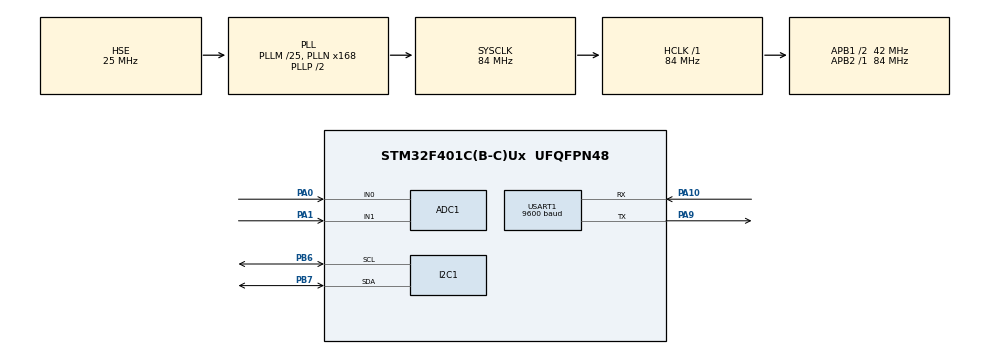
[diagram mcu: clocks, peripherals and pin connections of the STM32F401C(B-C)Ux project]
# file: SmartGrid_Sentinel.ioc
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ADC1.Channel-0\#ChannelRegularConversion=ADC_CHANNEL_0
ADC1.Channel-1\#ChannelRegularConversion=ADC_CHANNEL_1
ADC1.ContinuousConvMode=ENABLE
ADC1.DMAContinuousRequests=ENABLE
ADC1.EOCSelection=ADC_EOC_SEQ_CONV
ADC1.NbrOfConversion=2
ADC1.NbrOfConversionFlag=1
ADC1.Rank-0\#ChannelRegularConversion=1
ADC1.Rank-1\#ChannelRegularConversion=2
ADC1.SamplingTime-0\#ChannelRegularConversion=ADC_SAMPLETIME_3CYCLES
ADC1.SamplingTime-1\#ChannelRegularConversion=ADC_SAMPLETIME_3CYCLES
ADC1.master=1
Dma.ADC1.0.Direction=DMA_PERIPH_TO_MEMORY
Dma.ADC1.0.FIFOMode=DMA_FIFOMODE_DISABLE
Dma.ADC1.0.Instance=DMA2_Stream0
Dma.ADC1.0.MemDataAlignment=DMA_MDATAALIGN_HALFWORD
Dma.ADC1.0.MemInc=DMA_MINC_ENABLE
Dma.ADC1.0.Mode=DMA_CIRCULAR
Dma.ADC1.0.PeriphDataAlignment=DMA_PDATAALIGN_HALFWORD
Dma.ADC1.0.PeriphInc=DMA_PINC_DISABLE
Dma.ADC1.0.Priority=DMA_PRIORITY_LOW
Dma.Request0=ADC1
Mcu.Family=STM32F4
Mcu.Name=STM32F401C(B-C)Ux
Mcu.Package=UFQFPN48
NVIC.DMA2_Stream0_IRQn=true\:0\:0\:false\:false\:true\:false\:true\:true
NVIC.PriorityGroup=NVIC_PRIORITYGROUP_4
PA0-WKUP.Signal=ADCx_IN0
PA1.Signal=ADCx_IN1
PA10.Mode=Asynchronous
PA10.Signal=USART1_RX
PA9.Mode=Asynchronous
PA9.Signal=USART1_TX
PB6.Mode=I2C
PB6.Signal=I2C1_SCL
PB7.Mode=I2C
PB7.Signal=I2C1_SDA
PH0\ -\ OSC_IN.Mode=HSE-External-Oscillator
PH0\ -\ OSC_IN.Signal=RCC_OSC_IN
PH1\ -\ OSC_OUT.Mode=HSE-External-Oscillator
PH1\ -\ OSC_OUT.Signal=RCC_OSC_OUT
ProjectManager.HeapSize=0x200
ProjectManager.StackSize=0x400
ProjectManager.TargetToolchain=STM32CubeIDE
RCC.48MHZClocksFreq_Value=42000000
RCC.AHBFreq_Value=84000000
RCC.APB1CLKDivider=RCC_HCLK_DIV2
RCC.APB1Freq_Value=42000000
RCC.APB1TimFreq_Value=84000000
RCC.APB2Freq_Value=84000000
RCC.APB2TimFreq_Value=84000000
RCC.CortexFreq_Value=84000000
RCC.HCLKFreq_Value=84000000
RCC.HSE_VALUE=25000000
RCC.HSI_VALUE=16000000
RCC.LSE_VALUE=32768
RCC.PLLM=25
RCC.PLLN=168
RCC.PLLSourceVirtual=RCC_PLLSOURCE_HSE
RCC.SYSCLKFreq_VALUE=84000000
RCC.SYSCLKSource=RCC_SYSCLKSOURCE_PLLCLK
RCC.VCOOutputFreq_Value=168000000
SH.ADCx_IN0.0=ADC1_IN0,IN0
SH.ADCx_IN1.0=ADC1_IN1,IN1
USART1.BaudRate=9600
USART1.VirtualMode=VM_ASYNC
board=custom

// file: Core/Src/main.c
/* USER CODE BEGIN Header */
/**
  ******************************************************************************
  * @file           : main.c
  * @brief          : Main program body
  ******************************************************************************
  * @attention
  *
  * Copyright (c) 2026 STMicroelectronics.
  * All rights reserved.
  *
  * This software is licensed under terms that can be found in the LICENSE file
  * in the root directory of this software component.
  * If no LICENSE file comes with this software, it is provided AS-IS.
  *
  ******************************************************************************
  */
/* USER CODE END Header */
#include "main.h"

/* USER CODE BEGIN Includes */

#include "adc_x.h"
#include "uart.h"
#include "stdio.h"
#include "string.h"
#include <math.h>

/* USER CODE END Includes */

/* USER CODE BEGIN PD */
#define NUM_MUESTRAS 100
/* USER CODE END PD */

ADC_HandleTypeDef hadc1;
DMA_HandleTypeDef hdma_adc1;

I2C_HandleTypeDef hi2c1;

UART_HandleTypeDef huart1;

/* USER CODE BEGIN PV */
uint16_t adc_buffer[2]; // Para almacenar Voltaje [0] y Corriente [1]
float voltaje_rms = 0;
float corriente_rms = 0;
float temperatura = 0;
char mensaje_wifi[100]; // Buffer para enviar por UART
float suma_v2 = 0;
float suma_i2 = 0;
/* USER CODE END Includes */
/* USER CODE END PV */

void SystemClock_Config(void);
static void MX_GPIO_Init(void);
static void MX_DMA_Init(void);
static void MX_ADC1_Init(void);
static void MX_USART1_UART_Init(void);
static void MX_I2C1_Init(void);

int main(void)
{

  /* MCU Configuration--------------------------------------------------------*/

  /* Reset of all peripherals, Initializes the Flash interface and the Systick. */
  HAL_Init();

  /* Configure the system clock */
  SystemClock_Config();

  /* Initialize all configured peripherals */
  MX_GPIO_Init();
  MX_DMA_Init();
  MX_ADC1_Init();
  MX_USART1_UART_Init();
  MX_I2C1_Init();
  /* USER CODE BEGIN 2 */
  HAL_ADC_Start_DMA(&hadc1, (uint32_t*)adc_buffer, 2);

    // Mensaje de inicio por WiFi
    uartx_write_text(&huart1, (uint8_t*)"Sistema Smart-Grid Iniciado...\r\n");
    /* USER CODE END 2 */
  /* USER CODE END 2 */

  /* Infinite loop */
  /* USER CODE BEGIN WHILE */
  while (1)
  {

	  suma_v2 = 0;
	  suma_i2 = 0;

	  for (int i = 0; i < NUM_MUESTRAS; i++)
	  {
	      HAL_ADC_Start(&hadc1);
	      HAL_ADC_PollForConversion(&hadc1, 10);

	      adc_buffer[0] = HAL_ADC_GetValue(&hadc1);
	      HAL_ADC_PollForConversion(&hadc1, 10);
	      adc_buffer[1] = HAL_ADC_GetValue(&hadc1);

	      float v_inst = (adc_buffer[0] - 2048.0f) * (3.3f / 4096.0f);
	      suma_v2 += v_inst * v_inst;

	      float i_inst = (adc_buffer[1] - 2048.0f) * (3.3f / 4096.0f);
	      suma_i2 += i_inst * i_inst;
	  }

	  // RMS real
	  voltaje_rms = sqrt(suma_v2 / NUM_MUESTRAS) * 100.0;
	  corriente_rms = sqrt(suma_i2 / NUM_MUESTRAS) * 30.0;
	      sprintf(mensaje_wifi, "V: %.1fV | I: %.2fA | T: %.1fC\r\n",
	              voltaje_rms, corriente_rms, temperatura);

	      uartx_write_text(&huart1, (uint8_t*)mensaje_wifi);

	      HAL_Delay(1000); // Enviar datos cada segundo
	      /* USER CODE END WHILE */

	    }

    /* USER CODE END WHILE */

  }

void SystemClock_Config(void)
{
  RCC_OscInitTypeDef RCC_OscInitStruct = {0};
  RCC_ClkInitTypeDef RCC_ClkInitStruct = {0};

  /** Configure the main internal regulator output voltage
  */
  __HAL_RCC_PWR_CLK_ENABLE();
  __HAL_PWR_VOLTAGESCALING_CONFIG(PWR_REGULATOR_VOLTAGE_SCALE2);

  /** Initializes the RCC Oscillators according to the specified parameters
  * in the RCC_OscInitTypeDef structure.
  */
  RCC_OscInitStruct.OscillatorType = RCC_OSCILLATORTYPE_HSE;
  RCC_OscInitStruct.HSEState = RCC_HSE_ON;
  RCC_OscInitStruct.PLL.PLLState = RCC_PLL_ON;
  RCC_OscInitStruct.PLL.PLLSource = RCC_PLLSOURCE_HSE;
  RCC_OscInitStruct.PLL.PLLM = 25;
  RCC_OscInitStruct.PLL.PLLN = 168;
  RCC_OscInitStruct.PLL.PLLP = RCC_PLLP_DIV2;
  RCC_OscInitStruct.PLL.PLLQ = 4;
  if (HAL_RCC_OscConfig(&RCC_OscInitStruct) != HAL_OK)
  {
    Error_Handler();
  }

  /** Initializes the CPU, AHB and APB buses clocks
  */
  RCC_ClkInitStruct.ClockType = RCC_CLOCKTYPE_HCLK|RCC_CLOCKTYPE_SYSCLK
                              |RCC_CLOCKTYPE_PCLK1|RCC_CLOCKTYPE_PCLK2;
  RCC_ClkInitStruct.SYSCLKSource = RCC_SYSCLKSOURCE_PLLCLK;
  RCC_ClkInitStruct.AHBCLKDivider = RCC_SYSCLK_DIV1;
  RCC_ClkInitStruct.APB1CLKDivider = RCC_HCLK_DIV2;
  RCC_ClkInitStruct.APB2CLKDivider = RCC_HCLK_DIV1;

  if (HAL_RCC_ClockConfig(&RCC_ClkInitStruct, FLASH_LATENCY_2) != HAL_OK)
  {
    Error_Handler();
  }
}

static void MX_ADC1_Init(void)
{

  ADC_ChannelConfTypeDef sConfig = {0};

  /** Configure the global features of the ADC (Clock, Resolution, Data Alignment and number of conversion)
  */
  hadc1.Instance = ADC1;
  hadc1.Init.ClockPrescaler = ADC_CLOCK_SYNC_PCLK_DIV4;
  hadc1.Init.Resolution = ADC_RESOLUTION_12B;
  hadc1.Init.ScanConvMode = ENABLE;
  hadc1.Init.ContinuousConvMode = ENABLE;
  hadc1.Init.DiscontinuousConvMode = DISABLE;
  hadc1.Init.ExternalTrigConvEdge = ADC_EXTERNALTRIGCONVEDGE_NONE;
  hadc1.Init.ExternalTrigConv = ADC_SOFTWARE_START;
  hadc1.Init.DataAlign = ADC_DATAALIGN_RIGHT;
  hadc1.Init.NbrOfConversion = 2;
  hadc1.Init.DMAContinuousRequests = ENABLE;
  hadc1.Init.EOCSelection = ADC_EOC_SEQ_CONV;
  if (HAL_ADC_Init(&hadc1) != HAL_OK)
  {
    Error_Handler();
  }

  /** Configure for the selected ADC regular channel its corresponding rank in the sequencer and its sample time.
  */
  sConfig.Channel = ADC_CHANNEL_0;
  sConfig.Rank = 1;
  sConfig.SamplingTime = ADC_SAMPLETIME_3CYCLES;
  if (HAL_ADC_ConfigChannel(&hadc1, &sConfig) != HAL_OK)
  {
    Error_Handler();
  }

  /** Configure for the selected ADC regular channel its corresponding rank in the sequencer and its sample time.
  */
  sConfig.Channel = ADC_CHANNEL_1;
  sConfig.Rank = 2;
  if (HAL_ADC_ConfigChannel(&hadc1, &sConfig) != HAL_OK)
  {
    Error_Handler();
  }

}

static void MX_I2C1_Init(void)
{

  hi2c1.Instance = I2C1;
  hi2c1.Init.ClockSpeed = 100000;
  hi2c1.Init.DutyCycle = I2C_DUTYCYCLE_2;
  hi2c1.Init.OwnAddress1 = 0;
  hi2c1.Init.AddressingMode = I2C_ADDRESSINGMODE_7BIT;
  hi2c1.Init.DualAddressMode = I2C_DUALADDRESS_DISABLE;
  hi2c1.Init.OwnAddress2 = 0;
  hi2c1.Init.GeneralCallMode = I2C_GENERALCALL_DISABLE;
  hi2c1.Init.NoStretchMode = I2C_NOSTRETCH_DISABLE;
  if (HAL_I2C_Init(&hi2c1) != HAL_OK)
  {
    Error_Handler();
  }

}

static void MX_USART1_UART_Init(void)
{

  huart1.Instance = USART1;
  huart1.Init.BaudRate = 9600;
  huart1.Init.WordLength = UART_WORDLENGTH_8B;
  huart1.Init.StopBits = UART_STOPBITS_1;
  huart1.Init.Parity = UART_PARITY_NONE;
  huart1.Init.Mode = UART_MODE_TX_RX;
  huart1.Init.HwFlowCtl = UART_HWCONTROL_NONE;
  huart1.Init.OverSampling = UART_OVERSAMPLING_16;
  if (HAL_UART_Init(&huart1) != HAL_OK)
  {
    Error_Handler();
  }

}

static void MX_DMA_Init(void)
{

  /* DMA controller clock enable */
  __HAL_RCC_DMA2_CLK_ENABLE();

  /* DMA interrupt init */
  /* DMA2_Stream0_IRQn interrupt configuration */
  HAL_NVIC_SetPriority(DMA2_Stream0_IRQn, 0, 0);
  HAL_NVIC_EnableIRQ(DMA2_Stream0_IRQn);

}

static void MX_GPIO_Init(void)
{

  /* GPIO Ports Clock Enable */
  __HAL_RCC_GPIOH_CLK_ENABLE();
  __HAL_RCC_GPIOA_CLK_ENABLE();
  __HAL_RCC_GPIOB_CLK_ENABLE();

}

void Error_Handler(void)
{
  __disable_irq();
  while (1)
  {
  }
}
